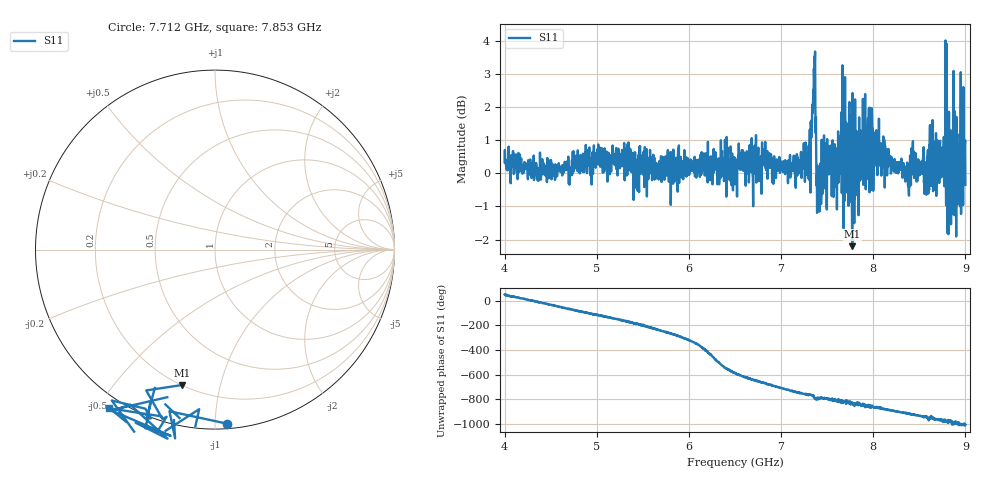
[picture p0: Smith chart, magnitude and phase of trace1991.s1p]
! Created with skrf 1.8.0 (http://scikit-rf.org).
# Hz S RI R 50.0
!freq ReS11 ImS11
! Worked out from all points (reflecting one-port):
!   1601 points, 4 GHz to 9 GHz, reference 50 ohm
!   lowest |S11| = -2.2 dB at 7.772 GHz (marker M1), VSWR 7.94, Z = 10.1 - j38.3 ohm
!   phase of S11 starts at 50 deg and turns -1055 deg over the sweep
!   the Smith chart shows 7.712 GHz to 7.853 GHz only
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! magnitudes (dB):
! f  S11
! 4 GHz  0.3
! 4.625 GHz  -0.1
! 5.25 GHz  0.2
! 5.875 GHz  0.3
! 6.412 GHz  0.5
! 6.5 GHz  -0.3
! 6.559 GHz  0.3
! 7.125 GHz  0.2
! 7.294 GHz  -0.1
! 7.319 GHz  -0.6
! 7.347 GHz  2.2
! 7.369 GHz  3.7
! 7.409 GHz  -0.9
! 7.525 GHz  0.8
! 7.619 GHz  1.3
! 7.65 GHz  0.4
! 7.75 GHz  -0.9
! 7.772 GHz  -2.2
! 7.928 GHz  0.8
! 8.375 GHz  -0.1
! 8.438 GHz  0.7
! 8.581 GHz  -0.6
! 8.631 GHz  0.9
! 8.809 GHz  1.2
! 8.825 GHz  0.7
! 8.919 GHz  -0.5
! 8.972 GHz  0.5
! 9 GHz  -0.4
